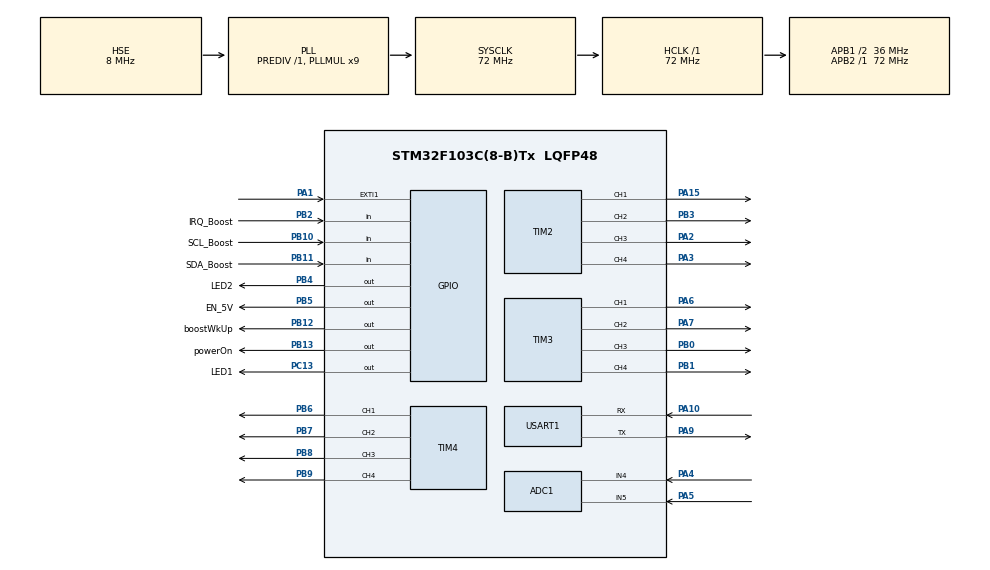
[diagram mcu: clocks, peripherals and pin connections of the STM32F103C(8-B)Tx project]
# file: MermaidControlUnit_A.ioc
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ADC1.Channel-0\#ChannelRegularConversion=ADC_CHANNEL_4
ADC1.NbrOfConversionFlag=1
ADC1.Rank-0\#ChannelRegularConversion=1
ADC1.SamplingTime-0\#ChannelRegularConversion=ADC_SAMPLETIME_1CYCLE_5
ADC1.master=1
Dma.Request0=TIM2_CH1
Dma.Request1=TIM2_CH3
Dma.Request2=TIM3_CH3
Dma.Request3=TIM4_CH2
Dma.TIM2_CH1.0.Direction=DMA_MEMORY_TO_PERIPH
Dma.TIM2_CH1.0.Instance=DMA1_Channel5
Dma.TIM2_CH1.0.MemDataAlignment=DMA_MDATAALIGN_BYTE
Dma.TIM2_CH1.0.MemInc=DMA_MINC_ENABLE
Dma.TIM2_CH1.0.Mode=DMA_NORMAL
Dma.TIM2_CH1.0.PeriphDataAlignment=DMA_PDATAALIGN_HALFWORD
Dma.TIM2_CH1.0.PeriphInc=DMA_PINC_DISABLE
Dma.TIM2_CH1.0.Priority=DMA_PRIORITY_LOW
Dma.TIM2_CH3.1.Direction=DMA_MEMORY_TO_PERIPH
Dma.TIM2_CH3.1.Instance=DMA1_Channel1
Dma.TIM2_CH3.1.MemDataAlignment=DMA_MDATAALIGN_BYTE
Dma.TIM2_CH3.1.MemInc=DMA_MINC_ENABLE
Dma.TIM2_CH3.1.Mode=DMA_NORMAL
Dma.TIM2_CH3.1.PeriphDataAlignment=DMA_PDATAALIGN_HALFWORD
Dma.TIM2_CH3.1.PeriphInc=DMA_PINC_DISABLE
Dma.TIM2_CH3.1.Priority=DMA_PRIORITY_LOW
Dma.TIM3_CH3.2.Direction=DMA_MEMORY_TO_PERIPH
Dma.TIM3_CH3.2.Instance=DMA1_Channel2
Dma.TIM3_CH3.2.MemDataAlignment=DMA_MDATAALIGN_BYTE
Dma.TIM3_CH3.2.MemInc=DMA_MINC_ENABLE
Dma.TIM3_CH3.2.Mode=DMA_NORMAL
Dma.TIM3_CH3.2.PeriphDataAlignment=DMA_PDATAALIGN_HALFWORD
Dma.TIM3_CH3.2.PeriphInc=DMA_PINC_DISABLE
Dma.TIM3_CH3.2.Priority=DMA_PRIORITY_LOW
Dma.TIM4_CH2.3.Direction=DMA_MEMORY_TO_PERIPH
Dma.TIM4_CH2.3.Instance=DMA1_Channel4
Dma.TIM4_CH2.3.MemDataAlignment=DMA_MDATAALIGN_BYTE
Dma.TIM4_CH2.3.MemInc=DMA_MINC_ENABLE
Dma.TIM4_CH2.3.Mode=DMA_NORMAL
Dma.TIM4_CH2.3.PeriphDataAlignment=DMA_PDATAALIGN_HALFWORD
Dma.TIM4_CH2.3.PeriphInc=DMA_PINC_DISABLE
Dma.TIM4_CH2.3.Priority=DMA_PRIORITY_LOW
Mcu.Family=STM32F1
Mcu.Name=STM32F103C(8-B)Tx
Mcu.Package=LQFP48
NVIC.DMA1_Channel1_IRQn=true\:0\:0\:false\:false\:true\:false\:true\:true
NVIC.DMA1_Channel2_IRQn=true\:0\:0\:false\:false\:true\:false\:true\:true
NVIC.DMA1_Channel4_IRQn=true\:0\:0\:false\:false\:true\:false\:true\:true
NVIC.DMA1_Channel5_IRQn=true\:0\:0\:false\:false\:true\:false\:true\:true
NVIC.EXTI1_IRQn=true\:0\:0\:false\:false\:true\:true\:true\:true
NVIC.PriorityGroup=NVIC_PRIORITYGROUP_4
NimaLTD.I-CUBE-WS28XX.3.0.1.DriverJjWS28XX=true
NimaLTD.I-CUBE-WS28XX.3.0.1.WS28XX_PIXEL_MAX=50
PA1.GPIO_ModeDefaultEXTI=GPIO_MODE_IT_FALLING
PA1.Signal=GPXTI1
PA10.Mode=Asynchronous
PA10.Signal=USART1_RX
PA13.Mode=Serial_Wire
PA13.Signal=SYS_JTMS-SWDIO
PA14.Mode=Serial_Wire
PA14.Signal=SYS_JTCK-SWCLK
PA15.Signal=S_TIM2_CH1_ETR
PA2.Signal=S_TIM2_CH3
PA3.Signal=S_TIM2_CH4
PA4.Signal=ADCx_IN4
PA5.Signal=ADCx_IN5
PA6.Signal=S_TIM3_CH1
PA7.Signal=S_TIM3_CH2
PA9.Mode=Asynchronous
PA9.Signal=USART1_TX
PB0.Signal=S_TIM3_CH3
PB1.Signal=S_TIM3_CH4
PB10.GPIO_Label=SCL_Boost
PB10.Signal=GPIO_Input
PB11.GPIO_Label=SDA_Boost
PB11.Signal=GPIO_Input
PB12.GPIO_Label=boostWkUp
PB12.Signal=GPIO_Output
PB13.GPIO_Label=powerOn
PB13.Signal=GPIO_Output
PB2.GPIO_Label=IRQ_Boost
PB2.Signal=GPIO_Input
PB3.Signal=S_TIM2_CH2
PB4.GPIO_Label=LED2
PB4.Signal=GPIO_Output
PB5.GPIO_Label=EN_5V
PB5.Signal=GPIO_Output
PB6.Signal=S_TIM4_CH1
PB7.Signal=S_TIM4_CH2
PB8.Signal=S_TIM4_CH3
PB9.Signal=S_TIM4_CH4
PC13-TAMPER-RTC.GPIO_Label=LED1
PC13-TAMPER-RTC.Signal=GPIO_Output
PC14-OSC32_IN.Signal=RCC_OSC32_IN
PC15-OSC32_OUT.Signal=RCC_OSC32_OUT
PD0-OSC_IN.Mode=HSE-External-Oscillator
PD0-OSC_IN.Signal=RCC_OSC_IN
PD1-OSC_OUT.Mode=HSE-External-Oscillator
PD1-OSC_OUT.Signal=RCC_OSC_OUT
ProjectManager.HeapSize=0x200
ProjectManager.StackSize=0x400
ProjectManager.TargetToolchain=STM32CubeIDE
RCC.ADCPresc=RCC_ADCPCLK2_DIV6
RCC.AHBFreq_Value=72000000
RCC.APB1CLKDivider=RCC_HCLK_DIV2
RCC.APB1Freq_Value=36000000
RCC.APB1TimFreq_Value=72000000
RCC.APB2Freq_Value=72000000
RCC.APB2TimFreq_Value=72000000
RCC.HCLKFreq_Value=72000000
RCC.PLLMUL=RCC_PLL_MUL9
RCC.PLLSourceVirtual=RCC_PLLSOURCE_HSE
RCC.SYSCLKFreq_VALUE=72000000
RCC.SYSCLKSource=RCC_SYSCLKSOURCE_PLLCLK
RCC.USBFreq_Value=72000000
SH.ADCx_IN4.0=ADC1_IN4,IN4
SH.ADCx_IN5.0=ADC1_IN5,IN5
SH.S_TIM2_CH1_ETR.0=TIM2_CH1,PWM Generation1 CH1
SH.S_TIM2_CH2.0=TIM2_CH2,PWM Generation2 CH2
SH.S_TIM2_CH3.0=TIM2_CH3,PWM Generation3 CH3
SH.S_TIM2_CH4.0=TIM2_CH4,PWM Generation4 CH4
SH.S_TIM3_CH1.0=TIM3_CH1,PWM Generation1 CH1
SH.S_TIM3_CH2.0=TIM3_CH2,PWM Generation2 CH2
SH.S_TIM3_CH3.0=TIM3_CH3,PWM Generation3 CH3
SH.S_TIM3_CH4.0=TIM3_CH4,PWM Generation4 CH4
SH.S_TIM4_CH1.0=TIM4_CH1,PWM Generation1 CH1
SH.S_TIM4_CH2.0=TIM4_CH2,PWM Generation2 CH2
SH.S_TIM4_CH3.0=TIM4_CH3,PWM Generation3 CH3
SH.S_TIM4_CH4.0=TIM4_CH4,PWM Generation4 CH4
TIM1.Prescaler=71
TIM2.Channel-PWM\ Generation1\ CH1=TIM_CHANNEL_1
TIM2.Channel-PWM\ Generation2\ CH2=TIM_CHANNEL_2
TIM2.Channel-PWM\ Generation3\ CH3=TIM_CHANNEL_3
TIM2.Channel-PWM\ Generation4\ CH4=TIM_CHANNEL_4
TIM3.Channel-PWM\ Generation1\ CH1=TIM_CHANNEL_1
TIM3.Channel-PWM\ Generation2\ CH2=TIM_CHANNEL_2
TIM3.Channel-PWM\ Generation3\ CH3=TIM_CHANNEL_3
TIM3.Channel-PWM\ Generation4\ CH4=TIM_CHANNEL_4
TIM4.Channel-PWM\ Generation1\ CH1=TIM_CHANNEL_1
TIM4.Channel-PWM\ Generation2\ CH2=TIM_CHANNEL_2
TIM4.Channel-PWM\ Generation3\ CH3=TIM_CHANNEL_3
TIM4.Channel-PWM\ Generation4\ CH4=TIM_CHANNEL_4
USART1.VirtualMode=VM_ASYNC
VP_NimaLTD.I-CUBE-WS28XX_VS_DriverJjWS28XX_1.0.0_3.0.1.Mode=DriverJjWS28XX
VP_TIM1_VS_ClockSourceINT.Mode=Internal
VP_TIM2_VS_ClockSourceINT.Mode=Internal
VP_TIM3_VS_ClockSourceINT.Mode=Internal
VP_TIM4_VS_ClockSourceINT.Mode=Internal
board=custom

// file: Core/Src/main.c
/* USER CODE BEGIN Header */
/**
 ******************************************************************************
 * @file           : main.c
 * @brief          : Main program body
 ******************************************************************************
 * @attention
 *
 * Copyright (c) 2025 STMicroelectronics.
 * All rights reserved.
 *
 * This software is licensed under terms that can be found in the LICENSE file
 * in the root directory of this software component.
 * If no LICENSE file comes with this software, it is provided AS-IS.
 *
 ******************************************************************************
 */
/* USER CODE END Header */
#include "main.h"

/* USER CODE BEGIN Includes */
#include "ws28xx.h"
#include <stdio.h>
#include <stdlib.h>

/*after change in IOC, change line
 #include "tim.h"
 for
 #include "stm32f1xx_hal.h"
 in ws28xx.h
 */

/* USER CODE END Includes */

ADC_HandleTypeDef hadc1;

TIM_HandleTypeDef htim1;
TIM_HandleTypeDef htim2;
TIM_HandleTypeDef htim3;
TIM_HandleTypeDef htim4;
DMA_HandleTypeDef hdma_tim2_ch1;
DMA_HandleTypeDef hdma_tim2_ch3;
DMA_HandleTypeDef hdma_tim3_ch3;
DMA_HandleTypeDef hdma_tim4_ch2;

UART_HandleTypeDef huart1;

/* USER CODE BEGIN PV */
uint32_t tempCode;
uint8_t bitIndex;
uint8_t cmd;
uint8_t cmdli;
volatile uint32_t code;
volatile bool processIR = 0;

uint8_t animationCode = 0;

WS28XX_HandleTypeDef string1,string7,string9,string4;
/* USER CODE END PV */

void SystemClock_Config(void);
static void MX_GPIO_Init(void);
static void MX_DMA_Init(void);
static void MX_ADC1_Init(void);
static void MX_TIM2_Init(void);
static void MX_TIM3_Init(void);
static void MX_TIM4_Init(void);
static void MX_USART1_UART_Init(void);
static void MX_TIM1_Init(void);
/* USER CODE BEGIN PFP */
void outputControl(uint8_t en);
void setAllBlue(WS28XX_HandleTypeDef ws);
void turnAllOff(WS28XX_HandleTypeDef ws);
void GlitteringWavesEffect(WS28XX_HandleTypeDef ws);
void EnchantedRippleEffect(WS28XX_HandleTypeDef ws);
void TwinklingGlowEffect(WS28XX_HandleTypeDef ws);
void CarTurnSignalEffect(WS28XX_HandleTypeDef ws);
void TestMode(WS28XX_HandleTypeDef ws);
/* USER CODE END PFP */

int main(void)
{

  /* MCU Configuration--------------------------------------------------------*/

  /* Reset of all peripherals, Initializes the Flash interface and the Systick. */
  HAL_Init();

  /* Configure the system clock */
  SystemClock_Config();

  /* Initialize all configured peripherals */
  MX_GPIO_Init();
  MX_DMA_Init();
  MX_ADC1_Init();
  MX_TIM2_Init();
  MX_TIM3_Init();
  MX_TIM4_Init();
  MX_USART1_UART_Init();
  MX_TIM1_Init();
  /* USER CODE BEGIN 2 */
	printf("Initialization begin\r\n");

	HAL_GPIO_WritePin(powerOn_GPIO_Port, powerOn_Pin, SET); // Power LDO Enable

	HAL_TIM_Base_Start(&htim1); // IR Receiver timer start
	__HAL_TIM_SET_COUNTER(&htim1, 0); // IR Receiver timer cnt set

	WS28XX_Init(&string1, &htim2, 72, TIM_CHANNEL_3, 8);
	WS28XX_Init(&string4, &htim4, 72, TIM_CHANNEL_2, 3);
	WS28XX_Init(&string7, &htim2, 72, TIM_CHANNEL_1, 3);
	WS28XX_Init(&string9, &htim3, 72, TIM_CHANNEL_3, 3);

	uint32_t tmheartbeat = 0, tm = 0; // Timestamp variable
	bool heartbeat = 0;
	HAL_GPIO_WritePin(LED2_GPIO_Port, LED2_Pin, 0); //heartbeat pin

	uint8_t ledsON = 0; //Some LED should be on - enable boost
	uint32_t tmboostON = 0; //timestamp for boost enabling
	bool boostONswitch = 0;

	printf("Initialization complete\r\n");

	WS28XX_SetPixel_RGBW_565(&string1, 0, COLOR_RGB565_BLUE, 50); //default init values
	WS28XX_SetPixel_RGBW_565(&string1, 1, COLOR_RGB565_CRIMSON, 50);
	WS28XX_SetPixel_RGBW_565(&string1, 2, COLOR_RGB565_ORANGE, 50);
	WS28XX_SetPixel_RGBW_565(&string1, 7, COLOR_RGB565_ORANGE, 50);
	WS28XX_Update(&string1);

  /* USER CODE END 2 */

  /* Infinite loop */
  /* USER CODE BEGIN WHILE */
	while (1) {
		if (tmheartbeat < HAL_GetTick()) { //heartbeat LED
			if (heartbeat)
				tmheartbeat = HAL_GetTick() + 950;
			else
				tmheartbeat = HAL_GetTick() + 50;

			HAL_GPIO_TogglePin(LED2_GPIO_Port, LED2_Pin); //heartbeat LED

			heartbeat = !heartbeat;
		}

		if (processIR == 1) { //Command received from IR decoding
			processIR = 0; //reset flag

			printf("Data: %X\r\n",(unsigned int)code); //debug terminal text

			switch (code) {
			case 0xFF8877: // "1"
				animationCode = 1;
				ledsON = 1;
				break;
			case 0xFF48B7: // "2"
				animationCode = 2;
				ledsON = 1;
				break;
			case 0xFFC837: // "3"
				animationCode = 3;
				ledsON = 1;
				break;
			case 0xFF28D7: // "4"
				animationCode = 4;
				ledsON = 1;
				break;
			case 0xFFA857: // "5"
				animationCode = 5;
				ledsON = 1;
				break;
			case 0xFF6897: // "6"
				animationCode = 6;
				ledsON = 1;
				break;
			case 0xFF58A7: // "0"
				animationCode = 0;
				ledsON = 0;
				break;
			case 0xFF50AF: // "OFF"
				printf("Power OFF\r\n");
				HAL_GPIO_WritePin(powerOn_GPIO_Port, powerOn_Pin, RESET); // Power LDO Disable, MCU suicide
				break;
			default:
				break;
			}

			//TODO enable check
			outputControl(ledsON);
		}

		if (tm < HAL_GetTick()) { //routine for effects
			tm = HAL_GetTick() + 10;

			switch (animationCode) {
			case 0: // "0"
				turnAllOff(string1);
				break;
			case 1: // "1"
				setAllBlue(string1);
				break;
			case 2: // "2"
				GlitteringWavesEffect(string1);
				break;
			case 3: // "3"
				EnchantedRippleEffect(string1);
				break;
			case 4: // "4"
				TwinklingGlowEffect(string1);
				break;
			case 5: // "5"
				CarTurnSignalEffect(string1);
				break;
			case 6: // "6"
				TestMode(string1);
				break;
			default:
				break;

			}
		}

		if (tmboostON < HAL_GetTick() && ledsON == 1) { //routine for waking up boost
			if (boostONswitch == 0) { //100ms high pulse every 20s, if LEDs are running
				tmboostON = HAL_GetTick() + 100;
				HAL_GPIO_WritePin(boostWkUp_GPIO_Port, boostWkUp_Pin,
						GPIO_PIN_SET);
			} else {
				tmboostON = HAL_GetTick() + 20000;
				HAL_GPIO_WritePin(boostWkUp_GPIO_Port, boostWkUp_Pin,
						GPIO_PIN_RESET);
			}
			boostONswitch = !boostONswitch;
		}
    /* USER CODE END WHILE */

	}
}

void SystemClock_Config(void)
{
  RCC_OscInitTypeDef RCC_OscInitStruct = {0};
  RCC_ClkInitTypeDef RCC_ClkInitStruct = {0};
  RCC_PeriphCLKInitTypeDef PeriphClkInit = {0};

  /** Initializes the RCC Oscillators according to the specified parameters
  * in the RCC_OscInitTypeDef structure.
  */
  RCC_OscInitStruct.OscillatorType = RCC_OSCILLATORTYPE_HSE;
  RCC_OscInitStruct.HSEState = RCC_HSE_ON;
  RCC_OscInitStruct.HSEPredivValue = RCC_HSE_PREDIV_DIV1;
  RCC_OscInitStruct.HSIState = RCC_HSI_ON;
  RCC_OscInitStruct.PLL.PLLState = RCC_PLL_ON;
  RCC_OscInitStruct.PLL.PLLSource = RCC_PLLSOURCE_HSE;
  RCC_OscInitStruct.PLL.PLLMUL = RCC_PLL_MUL9;
  if (HAL_RCC_OscConfig(&RCC_OscInitStruct) != HAL_OK)
  {
    Error_Handler();
  }

  /** Initializes the CPU, AHB and APB buses clocks
  */
  RCC_ClkInitStruct.ClockType = RCC_CLOCKTYPE_HCLK|RCC_CLOCKTYPE_SYSCLK
                              |RCC_CLOCKTYPE_PCLK1|RCC_CLOCKTYPE_PCLK2;
  RCC_ClkInitStruct.SYSCLKSource = RCC_SYSCLKSOURCE_PLLCLK;
  RCC_ClkInitStruct.AHBCLKDivider = RCC_SYSCLK_DIV1;
  RCC_ClkInitStruct.APB1CLKDivider = RCC_HCLK_DIV2;
  RCC_ClkInitStruct.APB2CLKDivider = RCC_HCLK_DIV1;

  if (HAL_RCC_ClockConfig(&RCC_ClkInitStruct, FLASH_LATENCY_2) != HAL_OK)
  {
    Error_Handler();
  }
  PeriphClkInit.PeriphClockSelection = RCC_PERIPHCLK_ADC;
  PeriphClkInit.AdcClockSelection = RCC_ADCPCLK2_DIV6;
  if (HAL_RCCEx_PeriphCLKConfig(&PeriphClkInit) != HAL_OK)
  {
    Error_Handler();
  }
}

static void MX_ADC1_Init(void)
{

  ADC_ChannelConfTypeDef sConfig = {0};

  /** Common config
  */
  hadc1.Instance = ADC1;
  hadc1.Init.ScanConvMode = ADC_SCAN_DISABLE;
  hadc1.Init.ContinuousConvMode = DISABLE;
  hadc1.Init.DiscontinuousConvMode = DISABLE;
  hadc1.Init.ExternalTrigConv = ADC_SOFTWARE_START;
  hadc1.Init.DataAlign = ADC_DATAALIGN_RIGHT;
  hadc1.Init.NbrOfConversion = 1;
  if (HAL_ADC_Init(&hadc1) != HAL_OK)
  {
    Error_Handler();
  }

  /** Configure Regular Channel
  */
  sConfig.Channel = ADC_CHANNEL_4;
  sConfig.Rank = ADC_REGULAR_RANK_1;
  sConfig.SamplingTime = ADC_SAMPLETIME_1CYCLE_5;
  if (HAL_ADC_ConfigChannel(&hadc1, &sConfig) != HAL_OK)
  {
    Error_Handler();
  }

}

static void MX_TIM1_Init(void)
{

  TIM_ClockConfigTypeDef sClockSourceConfig = {0};
  TIM_MasterConfigTypeDef sMasterConfig = {0};

  htim1.Instance = TIM1;
  htim1.Init.Prescaler = 71;
  htim1.Init.CounterMode = TIM_COUNTERMODE_UP;
  htim1.Init.Period = 65535;
  htim1.Init.ClockDivision = TIM_CLOCKDIVISION_DIV1;
  htim1.Init.RepetitionCounter = 0;
  htim1.Init.AutoReloadPreload = TIM_AUTORELOAD_PRELOAD_DISABLE;
  if (HAL_TIM_Base_Init(&htim1) != HAL_OK)
  {
    Error_Handler();
  }
  sClockSourceConfig.ClockSource = TIM_CLOCKSOURCE_INTERNAL;
  if (HAL_TIM_ConfigClockSource(&htim1, &sClockSourceConfig) != HAL_OK)
  {
    Error_Handler();
  }
  sMasterConfig.MasterOutputTrigger = TIM_TRGO_RESET;
  sMasterConfig.MasterSlaveMode = TIM_MASTERSLAVEMODE_DISABLE;
  if (HAL_TIMEx_MasterConfigSynchronization(&htim1, &sMasterConfig) != HAL_OK)
  {
    Error_Handler();
  }

}

static void MX_TIM2_Init(void)
{

  TIM_ClockConfigTypeDef sClockSourceConfig = {0};
  TIM_MasterConfigTypeDef sMasterConfig = {0};
  TIM_OC_InitTypeDef sConfigOC = {0};

  htim2.Instance = TIM2;
  htim2.Init.Prescaler = 0;
  htim2.Init.CounterMode = TIM_COUNTERMODE_UP;
  htim2.Init.Period = 65535;
  htim2.Init.ClockDivision = TIM_CLOCKDIVISION_DIV1;
  htim2.Init.AutoReloadPreload = TIM_AUTORELOAD_PRELOAD_DISABLE;
  if (HAL_TIM_Base_Init(&htim2) != HAL_OK)
  {
    Error_Handler();
  }
  sClockSourceConfig.ClockSource = TIM_CLOCKSOURCE_INTERNAL;
  if (HAL_TIM_ConfigClockSource(&htim2, &sClockSourceConfig) != HAL_OK)
  {
    Error_Handler();
  }
  if (HAL_TIM_PWM_Init(&htim2) != HAL_OK)
  {
    Error_Handler();
  }
  sMasterConfig.MasterOutputTrigger = TIM_TRGO_RESET;
  sMasterConfig.MasterSlaveMode = TIM_MASTERSLAVEMODE_DISABLE;
  if (HAL_TIMEx_MasterConfigSynchronization(&htim2, &sMasterConfig) != HAL_OK)
  {
    Error_Handler();
  }
  sConfigOC.OCMode = TIM_OCMODE_PWM1;
  sConfigOC.Pulse = 0;
  sConfigOC.OCPolarity = TIM_OCPOLARITY_HIGH;
  sConfigOC.OCFastMode = TIM_OCFAST_DISABLE;
  if (HAL_TIM_PWM_ConfigChannel(&htim2, &sConfigOC, TIM_CHANNEL_1) != HAL_OK)
  {
    Error_Handler();
  }
  if (HAL_TIM_PWM_ConfigChannel(&htim2, &sConfigOC, TIM_CHANNEL_2) != HAL_OK)
  {
    Error_Handler();
  }
  if (HAL_TIM_PWM_ConfigChannel(&htim2, &sConfigOC, TIM_CHANNEL_3) != HAL_OK)
  {
    Error_Handler();
  }
  if (HAL_TIM_PWM_ConfigChannel(&htim2, &sConfigOC, TIM_CHANNEL_4) != HAL_OK)
  {
    Error_Handler();
  }
  HAL_TIM_MspPostInit(&htim2);

}

static void MX_TIM3_Init(void)
{

  TIM_ClockConfigTypeDef sClockSourceConfig = {0};
  TIM_MasterConfigTypeDef sMasterConfig = {0};
  TIM_OC_InitTypeDef sConfigOC = {0};

  htim3.Instance = TIM3;
  htim3.Init.Prescaler = 0;
  htim3.Init.CounterMode = TIM_COUNTERMODE_UP;
  htim3.Init.Period = 65535;
  htim3.Init.ClockDivision = TIM_CLOCKDIVISION_DIV1;
  htim3.Init.AutoReloadPreload = TIM_AUTORELOAD_PRELOAD_DISABLE;
  if (HAL_TIM_Base_Init(&htim3) != HAL_OK)
  {
    Error_Handler();
  }
  sClockSourceConfig.ClockSource = TIM_CLOCKSOURCE_INTERNAL;
  if (HAL_TIM_ConfigClockSource(&htim3, &sClockSourceConfig) != HAL_OK)
  {
    Error_Handler();
  }
  if (HAL_TIM_PWM_Init(&htim3) != HAL_OK)
  {
    Error_Handler();
  }
  sMasterConfig.MasterOutputTrigger = TIM_TRGO_RESET;
  sMasterConfig.MasterSlaveMode = TIM_MASTERSLAVEMODE_DISABLE;
  if (HAL_TIMEx_MasterConfigSynchronization(&htim3, &sMasterConfig) != HAL_OK)
  {
    Error_Handler();
  }
  sConfigOC.OCMode = TIM_OCMODE_PWM1;
  sConfigOC.Pulse = 0;
  sConfigOC.OCPolarity = TIM_OCPOLARITY_HIGH;
  sConfigOC.OCFastMode = TIM_OCFAST_DISABLE;
  if (HAL_TIM_PWM_ConfigChannel(&htim3, &sConfigOC, TIM_CHANNEL_1) != HAL_OK)
  {
    Error_Handler();
  }
  if (HAL_TIM_PWM_ConfigChannel(&htim3, &sConfigOC, TIM_CHANNEL_2) != HAL_OK)
  {
    Error_Handler();
  }
  if (HAL_TIM_PWM_ConfigChannel(&htim3, &sConfigOC, TIM_CHANNEL_3) != HAL_OK)
  {
    Error_Handler();
  }
  if (HAL_TIM_PWM_ConfigChannel(&htim3, &sConfigOC, TIM_CHANNEL_4) != HAL_OK)
  {
    Error_Handler();
  }
  HAL_TIM_MspPostInit(&htim3);

}

static void MX_TIM4_Init(void)
{

  TIM_ClockConfigTypeDef sClockSourceConfig = {0};
  TIM_MasterConfigTypeDef sMasterConfig = {0};
  TIM_OC_InitTypeDef sConfigOC = {0};

  htim4.Instance = TIM4;
  htim4.Init.Prescaler = 0;
  htim4.Init.CounterMode = TIM_COUNTERMODE_UP;
  htim4.Init.Period = 65535;
  htim4.Init.ClockDivision = TIM_CLOCKDIVISION_DIV1;
  htim4.Init.AutoReloadPreload = TIM_AUTORELOAD_PRELOAD_DISABLE;
  if (HAL_TIM_Base_Init(&htim4) != HAL_OK)
  {
    Error_Handler();
  }
  sClockSourceConfig.ClockSource = TIM_CLOCKSOURCE_INTERNAL;
  if (HAL_TIM_ConfigClockSource(&htim4, &sClockSourceConfig) != HAL_OK)
  {
    Error_Handler();
  }
  if (HAL_TIM_PWM_Init(&htim4) != HAL_OK)
  {
    Error_Handler();
  }
  sMasterConfig.MasterOutputTrigger = TIM_TRGO_RESET;
  sMasterConfig.MasterSlaveMode = TIM_MASTERSLAVEMODE_DISABLE;
  if (HAL_TIMEx_MasterConfigSynchronization(&htim4, &sMasterConfig) != HAL_OK)
  {
    Error_Handler();
  }
  sConfigOC.OCMode = TIM_OCMODE_PWM1;
  sConfigOC.Pulse = 0;
  sConfigOC.OCPolarity = TIM_OCPOLARITY_HIGH;
  sConfigOC.OCFastMode = TIM_OCFAST_DISABLE;
  if (HAL_TIM_PWM_ConfigChannel(&htim4, &sConfigOC, TIM_CHANNEL_1) != HAL_OK)
  {
    Error_Handler();
  }
  if (HAL_TIM_PWM_ConfigChannel(&htim4, &sConfigOC, TIM_CHANNEL_2) != HAL_OK)
  {
    Error_Handler();
  }
  if (HAL_TIM_PWM_ConfigChannel(&htim4, &sConfigOC, TIM_CHANNEL_3) != HAL_OK)
  {
    Error_Handler();
  }
  if (HAL_TIM_PWM_ConfigChannel(&htim4, &sConfigOC, TIM_CHANNEL_4) != HAL_OK)
  {
    Error_Handler();
  }
  HAL_TIM_MspPostInit(&htim4);

}

static void MX_USART1_UART_Init(void)
{

  huart1.Instance = USART1;
  huart1.Init.BaudRate = 115200;
  huart1.Init.WordLength = UART_WORDLENGTH_8B;
  huart1.Init.StopBits = UART_STOPBITS_1;
  huart1.Init.Parity = UART_PARITY_NONE;
  huart1.Init.Mode = UART_MODE_TX_RX;
  huart1.Init.HwFlowCtl = UART_HWCONTROL_NONE;
  huart1.Init.OverSampling = UART_OVERSAMPLING_16;
  if (HAL_UART_Init(&huart1) != HAL_OK)
  {
    Error_Handler();
  }

}

static void MX_DMA_Init(void)
{

  /* DMA controller clock enable */
  __HAL_RCC_DMA1_CLK_ENABLE();

  /* DMA interrupt init */
  /* DMA1_Channel1_IRQn interrupt configuration */
  HAL_NVIC_SetPriority(DMA1_Channel1_IRQn, 0, 0);
  HAL_NVIC_EnableIRQ(DMA1_Channel1_IRQn);
  /* DMA1_Channel2_IRQn interrupt configuration */
  HAL_NVIC_SetPriority(DMA1_Channel2_IRQn, 0, 0);
  HAL_NVIC_EnableIRQ(DMA1_Channel2_IRQn);
  /* DMA1_Channel4_IRQn interrupt configuration */
  HAL_NVIC_SetPriority(DMA1_Channel4_IRQn, 0, 0);
  HAL_NVIC_EnableIRQ(DMA1_Channel4_IRQn);
  /* DMA1_Channel5_IRQn interrupt configuration */
  HAL_NVIC_SetPriority(DMA1_Channel5_IRQn, 0, 0);
  HAL_NVIC_EnableIRQ(DMA1_Channel5_IRQn);

}

static void MX_GPIO_Init(void)
{
  GPIO_InitTypeDef GPIO_InitStruct = {0};

  /* GPIO Ports Clock Enable */
  __HAL_RCC_GPIOC_CLK_ENABLE();
  __HAL_RCC_GPIOD_CLK_ENABLE();
  __HAL_RCC_GPIOA_CLK_ENABLE();
  __HAL_RCC_GPIOB_CLK_ENABLE();

  /*Configure GPIO pin Output Level */
  HAL_GPIO_WritePin(LED1_GPIO_Port, LED1_Pin, GPIO_PIN_RESET);

  /*Configure GPIO pin Output Level */
  HAL_GPIO_WritePin(GPIOB, boostWkUp_Pin|powerOn_Pin|LED2_Pin|EN_5V_Pin, GPIO_PIN_RESET);

  /*Configure GPIO pin : LED1_Pin */
  GPIO_InitStruct.Pin = LED1_Pin;
  GPIO_InitStruct.Mode = GPIO_MODE_OUTPUT_PP;
  GPIO_InitStruct.Pull = GPIO_NOPULL;
  GPIO_InitStruct.Speed = GPIO_SPEED_FREQ_LOW;
  HAL_GPIO_Init(LED1_GPIO_Port, &GPIO_InitStruct);

  /*Configure GPIO pin : PA1 */
  GPIO_InitStruct.Pin = GPIO_PIN_1;
  GPIO_InitStruct.Mode = GPIO_MODE_IT_FALLING;
  GPIO_InitStruct.Pull = GPIO_NOPULL;
  HAL_GPIO_Init(GPIOA, &GPIO_InitStruct);

  /*Configure GPIO pins : IRQ_Boost_Pin SCL_Boost_Pin SDA_Boost_Pin */
  GPIO_InitStruct.Pin = IRQ_Boost_Pin|SCL_Boost_Pin|SDA_Boost_Pin;
  GPIO_InitStruct.Mode = GPIO_MODE_INPUT;
  GPIO_InitStruct.Pull = GPIO_NOPULL;
  HAL_GPIO_Init(GPIOB, &GPIO_InitStruct);

  /*Configure GPIO pins : boostWkUp_Pin powerOn_Pin LED2_Pin EN_5V_Pin */
  GPIO_InitStruct.Pin = boostWkUp_Pin|powerOn_Pin|LED2_Pin|EN_5V_Pin;
  GPIO_InitStruct.Mode = GPIO_MODE_OUTPUT_PP;
  GPIO_InitStruct.Pull = GPIO_NOPULL;
  GPIO_InitStruct.Speed = GPIO_SPEED_FREQ_LOW;
  HAL_GPIO_Init(GPIOB, &GPIO_InitStruct);

  /* EXTI interrupt init*/
  HAL_NVIC_SetPriority(EXTI1_IRQn, 0, 0);
  HAL_NVIC_EnableIRQ(EXTI1_IRQn);

}

/* USER CODE BEGIN 4 */
/* UART PRINTF MAP */
#if defined(__GNUC__)
int _write(int fd, char *ptr, int len) {
	HAL_UART_Transmit(&huart1, (uint8_t*) ptr, len, HAL_MAX_DELAY);
	return len;
}
#elif defined (__ICCARM__)
#include "LowLevelIOInterface.h"
size_t __write(int handle, const unsigned char * buffer, size_t size)
{
	HAL_UART_Transmit(&huart1, (uint8_t *) buffer, size, HAL_MAX_DELAY);
	return size;
}
#elif defined (__CC_ARM)
int fputc(int ch, FILE *f)
{
	HAL_UART_Transmit(&huart1, (uint8_t *)&ch, 1, HAL_MAX_DELAY);
	return ch;
}
#endif

#ifdef __GNUC__
#define PUTCHAR_PROTOTYPE int __io_putchar(int ch)
#else
#define PUTCHAR_PROTOTYPE int fputc(int ch, FILE *f)
#endif /* __GNUC__ */

/**
 * @brief  Retargets the C library printf function to the USART.
 * @param  None
 * @retval None
 */
PUTCHAR_PROTOTYPE {
	HAL_UART_Transmit(&huart1, (uint8_t*) &ch, 1, HAL_MAX_DELAY);
//HAL_UART_Transmit(&huart2, (uint8_t *)&ch, 1, HAL_MAX_DELAY);
	return ch;
}

/* IR TIMER AND DECODING */
void HAL_GPIO_EXTI_Callback(uint16_t GPIO_Pin) {
	if (GPIO_Pin == GPIO_PIN_1) {
		if (__HAL_TIM_GET_COUNTER(&htim1) > 8000) {
			tempCode = 0;
			bitIndex = 0;
		} else if (__HAL_TIM_GET_COUNTER(&htim1) > 1700) {
			tempCode |= (1UL << (31 - bitIndex));   // write 1
			bitIndex++;
		} else if (__HAL_TIM_GET_COUNTER(&htim1) > 1000) {
			tempCode &= ~(1UL << (31 - bitIndex));  // write 0
			bitIndex++;
		}
		//printf("Data: %d\r\n", __HAL_TIM_GET_COUNTER(&htim1)); //debug terminal text

		if (bitIndex == 32) {
			cmdli = ~tempCode; // Logical inverted last 8 bits
			cmd = tempCode >> 8; // Second last 8 bits
			if (cmdli == cmd) // Check for errors
					{
				code = tempCode; // If no bit errors
				// Do your main work HERE
				//printf("Data: %X\r\n",code);
				processIR = 1;
			}
			bitIndex = 0;
		}
		__HAL_TIM_SET_COUNTER(&htim1, 0);
	}
}

/* OUTPUT ENABLE CONTROL */
void outputControl(uint8_t en){
	if(en == 1)
		HAL_GPIO_WritePin(EN_5V_GPIO_Port, EN_5V_Pin, SET);
	else
		HAL_GPIO_WritePin(EN_5V_GPIO_Port, EN_5V_Pin, RESET);
}

/* LED EFFECTS */

void setAllBlue(WS28XX_HandleTypeDef ws) {
	for(int i = 0; i<8; i++){
	WS28XX_SetPixel_RGBW_565(&ws, i, COLOR_RGB565_CYAN, 100);
	}

	WS28XX_Update(&ws);
}

void turnAllOff(WS28XX_HandleTypeDef ws) {
	for(int i = 0; i<8; i++){
	WS28XX_SetPixel_RGBW_565(&ws, i, COLOR_RGB888_BLACK, 100);
	}
	WS28XX_Update(&ws);
}

void GlitteringWavesEffect(WS28XX_HandleTypeDef ws) {
	 static uint32_t next_update = 0;
	    static uint8_t brightness[8] = {100, 120, 140, 160, 180, 200, 220, 240}; // Initial brightness
	    static int8_t delta[8] = {10, -15, 20, -10, 15, -20, 10, -5}; // Different rates for each LED

	    if (HAL_GetTick() >= next_update) {
	        next_update = HAL_GetTick() + 5; // 5ms periodic update

	        for (int i = 0; i < 8; i++) {
	            brightness[i] += delta[i];
	            if (brightness[i] >= 255 || brightness[i] <= 100) {
	                delta[i] = -delta[i]; // Reverse direction at limits
	            }
	            WS28XX_SetPixel_RGBW_565(&ws, i, COLOR_RGB565_CYAN, brightness[i]);
	        }
		WS28XX_Update(&ws);
	}
}
void EnchantedRippleEffect(WS28XX_HandleTypeDef ws) {
	static uint32_t next_update = 0;
	    static uint8_t brightness = 0;
	    static int8_t direction = 1; // 1 for increasing, -1 for decreasing

	    if (HAL_GetTick() >= next_update) {
	        next_update = HAL_GetTick() + 5; // 5ms periodic update

	        brightness += 5 * direction;
	        if (brightness >= 255 || brightness <= 0) {
	            direction = -direction; // Reverse at boundaries
	        }

	        for (int i = 0; i < 8; i++) {
	            uint8_t adjusted_brightness = (brightness + (i * 32)) % 256; // Creates a wave effect
	            WS28XX_SetPixel_RGBW_565(&ws, i, COLOR_RGB565_BLUE, adjusted_brightness);
	        }
		WS28XX_Update(&ws);

	}
}
void TwinklingGlowEffect(WS28XX_HandleTypeDef ws) {
	 static uint32_t next_update = 0;
	    static uint8_t brightness[8] = {50, 100, 150, 200, 120, 180, 60, 90}; // Initial brightness
	    static int8_t delta[8] = {5, -3, 4, -6, 7, -2, 3, -4}; // Different speed changes

	    if (HAL_GetTick() >= next_update) {
	        next_update = HAL_GetTick() + 5; // 5ms periodic update

	        for (int i = 0; i < 8; i++) {
	            brightness[i] += delta[i];
	            if (brightness[i] >= 255 || brightness[i] <= 50) {
	                delta[i] = -delta[i]; // Reverse direction at limits
	                // Randomize the twinkle speed
	                if (brightness[i] <= 50) {
	                    delta[i] = (rand() % 5) + 3;
	                }
	            }
	            WS28XX_SetPixel_RGBW_565(&ws, i, COLOR_RGB565_AQUA, brightness[i]);
	        }
		WS28XX_Update(&ws);
	}
}

void CarTurnSignalEffect(WS28XX_HandleTypeDef ws) {
	static uint32_t next_update = 0;
	static bool leds_on = false; // State to track whether the LEDs are on or off

	if (HAL_GetTick() >= next_update) {
		next_update = HAL_GetTick() + (leds_on ? 300 : 700); // 300ms ON, 700ms OFF for classic timing

		if (leds_on) {
			// Turn off all LEDs
			for (int i = 0; i < 8; i++) {
				WS28XX_SetPixel_RGBW_565(&ws, i, COLOR_RGB565_BLACK, 0);
			}
			leds_on = false;
		} else {
			// Turn on all LEDs with Amber
			for (int i = 0; i < 8; i++) {
				WS28XX_SetPixel_RGBW_565(&ws, i, COLOR_RGB565_ORANGE, 255);
			}
			leds_on = true;
		}
		WS28XX_Update(&ws);
	}
}

void TestMode(WS28XX_HandleTypeDef ws) {static uint32_t next_update = 0;
static int led_index = 0; // Starts at LED 1
static int color_stage = 0; // 0 = Red, 1 = Green, 2 = Blue, 3 = Off
static bool all_leds_stage = false; // False = individual LED test, True = all LEDs cycle
static int all_leds_cycle_count = 0; // Tracks if the all-LED cycle has completed once

if (HAL_GetTick() >= next_update) {
    if (!all_leds_stage) {
        next_update = HAL_GetTick() + 100; // 100ms timing for individual LED cycling

        // Turn off all LEDs before updating
        for (int i = 0; i < 8; i++) {
            WS28XX_SetPixel_RGBW_565(&ws, i, COLOR_RGB565_BLACK, 0);
        }

        // Set the current LED to the correct color
        uint16_t color;
        switch (color_stage) {
            case 0: color = COLOR_RGB565_RED; break;
            case 1: color = COLOR_RGB565_GREEN; break;
            case 2: color = COLOR_RGB565_BLUE; break;
            default: color = COLOR_RGB565_BLACK; break;
        }

        WS28XX_SetPixel_RGBW_565(&ws, led_index, color, 255);
        WS28XX_Update(&ws);

        // Advance color stage
        color_stage++;
        if (color_stage > 3) { // Once Off state is reached, move to next LED
            color_stage = 0;
            led_index++;
        }

        // If all LEDs have been tested, switch to "all LEDs together" phase
        if (led_index >= 8) {
            all_leds_stage = true;
            color_stage = 0;
            all_leds_cycle_count = 0;
        }
    } else {
        next_update = HAL_GetTick() + 1000; // 1s timing for all-LEDs phase

        // Cycle all LEDs together through Red → Green → Blue
        uint16_t color;
        switch (color_stage) {
            case 0: color = COLOR_RGB565_RED; break;
            case 1: color = COLOR_RGB565_GREEN; break;
            case 2: color = COLOR_RGB565_BLUE; break;
            default: color = COLOR_RGB565_BLACK; break;
        }

        for (int i = 0; i < 8; i++) {
            WS28XX_SetPixel_RGBW_565(&ws, i, color, 255);
        }
        WS28XX_Update(&ws);

        // Advance global color stage
        color_stage++;
        all_leds_cycle_count++;

        // After one full RGB cycle, return to individual LED testing
        if (all_leds_cycle_count >= 3) {
            all_leds_stage = false;
            led_index = 0; // Restart from LED 1
            color_stage = 0;
        }
    }
}
}

/* USER CODE END 4 */

void Error_Handler(void)
{
	__disable_irq();
	while (1) {
	}
}
